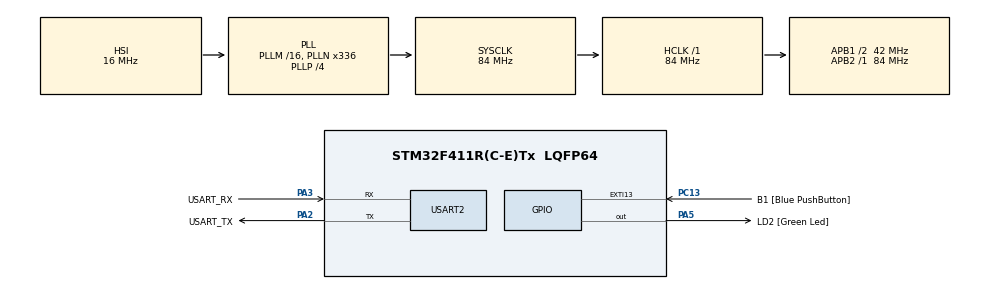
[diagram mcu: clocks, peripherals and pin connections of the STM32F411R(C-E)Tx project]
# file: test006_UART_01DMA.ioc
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Dma.Request0=USART2_RX
Dma.USART2_RX.0.Direction=DMA_PERIPH_TO_MEMORY
Dma.USART2_RX.0.FIFOMode=DMA_FIFOMODE_DISABLE
Dma.USART2_RX.0.Instance=DMA1_Stream5
Dma.USART2_RX.0.MemDataAlignment=DMA_MDATAALIGN_BYTE
Dma.USART2_RX.0.MemInc=DMA_MINC_ENABLE
Dma.USART2_RX.0.Mode=DMA_CIRCULAR
Dma.USART2_RX.0.PeriphDataAlignment=DMA_PDATAALIGN_BYTE
Dma.USART2_RX.0.PeriphInc=DMA_PINC_DISABLE
Dma.USART2_RX.0.Priority=DMA_PRIORITY_LOW
Mcu.Family=STM32F4
Mcu.Name=STM32F411R(C-E)Tx
Mcu.Package=LQFP64
NVIC.DMA1_Stream5_IRQn=true\:0\:0\:false\:false\:true\:false\:true\:true
NVIC.EXTI15_10_IRQn=true\:0\:0\:false\:false\:true\:true\:true\:true
NVIC.PriorityGroup=NVIC_PRIORITYGROUP_0
PA13.GPIO_Label=TMS
PA13.Mode=Serial_Wire
PA13.Signal=SYS_JTMS-SWDIO
PA14.GPIO_Label=TCK
PA14.Mode=Serial_Wire
PA14.Signal=SYS_JTCK-SWCLK
PA2.GPIO_Label=USART_TX
PA2.Mode=Asynchronous
PA2.Signal=USART2_TX
PA3.GPIO_Label=USART_RX
PA3.Mode=Asynchronous
PA3.Signal=USART2_RX
PA5.GPIO_Label=LD2 [Green Led]
PA5.Signal=GPIO_Output
PB3.GPIO_Label=SWO
PB3.Signal=SYS_JTDO-SWO
PC13-ANTI_TAMP.GPIO_Label=B1 [Blue PushButton]
PC13-ANTI_TAMP.GPIO_ModeDefaultEXTI=GPIO_MODE_IT_FALLING
PC13-ANTI_TAMP.Signal=GPXTI13
PC14-OSC32_IN.Mode=LSE-External-Oscillator
PC14-OSC32_IN.Signal=RCC_OSC32_IN
PC15-OSC32_OUT.Mode=LSE-External-Oscillator
PC15-OSC32_OUT.Signal=RCC_OSC32_OUT
PH0\ -\ OSC_IN.Mode=HSE-External-Clock-Source
PH0\ -\ OSC_IN.Signal=RCC_OSC_IN
PH1\ -\ OSC_OUT.Mode=HSE-External-Clock-Source
PH1\ -\ OSC_OUT.Signal=RCC_OSC_OUT
ProjectManager.HeapSize=0x200
ProjectManager.StackSize=0x400
ProjectManager.TargetToolchain=STM32CubeIDE
RCC.48MHZClocksFreq_Value=84000000
RCC.AHBFreq_Value=84000000
RCC.APB1CLKDivider=RCC_HCLK_DIV2
RCC.APB1Freq_Value=42000000
RCC.APB1TimFreq_Value=84000000
RCC.APB2Freq_Value=84000000
RCC.APB2TimFreq_Value=84000000
RCC.CortexFreq_Value=84000000
RCC.FLatency-AdvancedSettings=FLASH_LATENCY_2
RCC.HCLKFreq_Value=84000000
RCC.HSE_VALUE=8000000
RCC.HSI_VALUE=16000000
RCC.PLLN=336
RCC.PLLP=RCC_PLLP_DIV4
RCC.SYSCLKFreq_VALUE=84000000
RCC.SYSCLKSource=RCC_SYSCLKSOURCE_PLLCLK
RCC.VCOOutputFreq_Value=336000000
USART2.VirtualMode=VM_ASYNC
board=NUCLEO-F411RE

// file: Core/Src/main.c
/* USER CODE BEGIN Header */
/**
  ******************************************************************************
  * @file           : main.c
  * @brief          : Main program body
  ******************************************************************************
  * @attention
  *
  * Copyright (c) 2024 STMicroelectronics.
  * All rights reserved.
  *
  * This software is licensed under terms that can be found in the LICENSE file
  * in the root directory of this software component.
  * If no LICENSE file comes with this software, it is provided AS-IS.
  *
  ******************************************************************************
  */
/* USER CODE END Header */
#include "main.h"

/* USER CODE BEGIN Includes */
#include "myLib.h"
/* USER CODE END Includes */

/* USER CODE BEGIN PM */
extern myBuffer Buf;
//char buf[100];

/* USER CODE END PM */

UART_HandleTypeDef huart2;
DMA_HandleTypeDef hdma_usart2_rx;

/* USER CODE BEGIN PV */
int GetBuffer(char* b); // b : char array pointer for destination //return data numbers

/* USER CODE END PV */

void SystemClock_Config(void);
static void MX_GPIO_Init(void);
static void MX_DMA_Init(void);
static void MX_USART2_UART_Init(void);

/* USER CODE BEGIN 0 */
void HAL_UART_RxCpltCallback(UART_HandleTypeDef *huart)
{

}
int n = 1;
void HAL_GPIO_EXTI_Callback(uint16_t GPIO_Pin)
{
	if(GPIO_Pin == B1_Pin)
	{
		//n <<= 1; // n *= 2;
		if((n<<=1)>8)n= 1;
		//n =1, 2, 4, 8(Echo Mode)
	}
}
/* USER CODE END 0 */

int main(void)
{

  /* MCU Configuration--------------------------------------------------------*/

  /* Reset of all peripherals, Initializes the Flash interface and the Systick. */
  HAL_Init();

  /* Configure the system clock */
  SystemClock_Config();

  /* Initialize all configured peripherals */
  MX_GPIO_Init();
  MX_DMA_Init();
  MX_USART2_UART_Init();
  /* USER CODE BEGIN 2 */
  ProgramStart("UART - DMA");
  HAL_UART_Receive_DMA(&huart2, &Buf, MAX_BUF);//handler, buffer addr, size \generally max memory
  /* USER CODE END 2 */

  /* Infinite loop */
  /* USER CODE BEGIN WHILE */
  cls();
  //printf("\033[3;0H\n");
  //printf("Memory dump mode      \r\n");
  while (1)
  {
    /* USER CODE END WHILE */

    /* USER CODE BEGIN 3 */
	  /*
	printf("\033[3;0H\n");
	for (int i = 0; i < 20; i++) //ROW index
	{
		for (int j = 0; j < 16; j++) // COULUMN index
		{
			printf("%02X ", Buf.v0[(i * 16) + j]);
			if (j == 7)
				printf("  ");
		}
		printf("\r\n");
	}

	*/
	if(n == 8)
	{
		//printf("Echo\r\n");
		char arr[100];
		if(GetBuffer(arr))//>0
		{
			printf("%s\r\n", arr);
		}
		HAL_Delay(500);
	}
	else
	{
		printf("\033[3;0H\n");
		Dump(n);
		HAL_Delay(1000);
	}

  }
  /* USER CODE END 3 */
}

void SystemClock_Config(void)
{
  RCC_OscInitTypeDef RCC_OscInitStruct = {0};
  RCC_ClkInitTypeDef RCC_ClkInitStruct = {0};

  /** Configure the main internal regulator output voltage
  */
  __HAL_RCC_PWR_CLK_ENABLE();
  __HAL_PWR_VOLTAGESCALING_CONFIG(PWR_REGULATOR_VOLTAGE_SCALE1);

  /** Initializes the RCC Oscillators according to the specified parameters
  * in the RCC_OscInitTypeDef structure.
  */
  RCC_OscInitStruct.OscillatorType = RCC_OSCILLATORTYPE_HSI;
  RCC_OscInitStruct.HSIState = RCC_HSI_ON;
  RCC_OscInitStruct.HSICalibrationValue = RCC_HSICALIBRATION_DEFAULT;
  RCC_OscInitStruct.PLL.PLLState = RCC_PLL_ON;
  RCC_OscInitStruct.PLL.PLLSource = RCC_PLLSOURCE_HSI;
  RCC_OscInitStruct.PLL.PLLM = 16;
  RCC_OscInitStruct.PLL.PLLN = 336;
  RCC_OscInitStruct.PLL.PLLP = RCC_PLLP_DIV4;
  RCC_OscInitStruct.PLL.PLLQ = 4;
  if (HAL_RCC_OscConfig(&RCC_OscInitStruct) != HAL_OK)
  {
    Error_Handler();
  }

  /** Initializes the CPU, AHB and APB buses clocks
  */
  RCC_ClkInitStruct.ClockType = RCC_CLOCKTYPE_HCLK|RCC_CLOCKTYPE_SYSCLK
                              |RCC_CLOCKTYPE_PCLK1|RCC_CLOCKTYPE_PCLK2;
  RCC_ClkInitStruct.SYSCLKSource = RCC_SYSCLKSOURCE_PLLCLK;
  RCC_ClkInitStruct.AHBCLKDivider = RCC_SYSCLK_DIV1;
  RCC_ClkInitStruct.APB1CLKDivider = RCC_HCLK_DIV2;
  RCC_ClkInitStruct.APB2CLKDivider = RCC_HCLK_DIV1;

  if (HAL_RCC_ClockConfig(&RCC_ClkInitStruct, FLASH_LATENCY_2) != HAL_OK)
  {
    Error_Handler();
  }
}

static void MX_USART2_UART_Init(void)
{

  huart2.Instance = USART2;
  huart2.Init.BaudRate = 115200;
  huart2.Init.WordLength = UART_WORDLENGTH_8B;
  huart2.Init.StopBits = UART_STOPBITS_1;
  huart2.Init.Parity = UART_PARITY_NONE;
  huart2.Init.Mode = UART_MODE_TX_RX;
  huart2.Init.HwFlowCtl = UART_HWCONTROL_NONE;
  huart2.Init.OverSampling = UART_OVERSAMPLING_16;
  if (HAL_UART_Init(&huart2) != HAL_OK)
  {
    Error_Handler();
  }

}

static void MX_DMA_Init(void)
{

  /* DMA controller clock enable */
  __HAL_RCC_DMA1_CLK_ENABLE();

  /* DMA interrupt init */
  /* DMA1_Stream5_IRQn interrupt configuration */
  HAL_NVIC_SetPriority(DMA1_Stream5_IRQn, 0, 0);
  HAL_NVIC_EnableIRQ(DMA1_Stream5_IRQn);

}

static void MX_GPIO_Init(void)
{
  GPIO_InitTypeDef GPIO_InitStruct = {0};

  /* GPIO Ports Clock Enable */
  __HAL_RCC_GPIOC_CLK_ENABLE();
  __HAL_RCC_GPIOH_CLK_ENABLE();
  __HAL_RCC_GPIOA_CLK_ENABLE();
  __HAL_RCC_GPIOB_CLK_ENABLE();

  /*Configure GPIO pin Output Level */
  HAL_GPIO_WritePin(LD2_GPIO_Port, LD2_Pin, GPIO_PIN_RESET);

  /*Configure GPIO pin : B1_Pin */
  GPIO_InitStruct.Pin = B1_Pin;
  GPIO_InitStruct.Mode = GPIO_MODE_IT_FALLING;
  GPIO_InitStruct.Pull = GPIO_NOPULL;
  HAL_GPIO_Init(B1_GPIO_Port, &GPIO_InitStruct);

  /*Configure GPIO pin : LD2_Pin */
  GPIO_InitStruct.Pin = LD2_Pin;
  GPIO_InitStruct.Mode = GPIO_MODE_OUTPUT_PP;
  GPIO_InitStruct.Pull = GPIO_NOPULL;
  GPIO_InitStruct.Speed = GPIO_SPEED_FREQ_LOW;
  HAL_GPIO_Init(LD2_GPIO_Port, &GPIO_InitStruct);

  /* EXTI interrupt init*/
  HAL_NVIC_SetPriority(EXTI15_10_IRQn, 0, 0);
  HAL_NVIC_EnableIRQ(EXTI15_10_IRQn);

}

void Error_Handler(void)
{
  __disable_irq();
  while (1)
  {
  }
}
